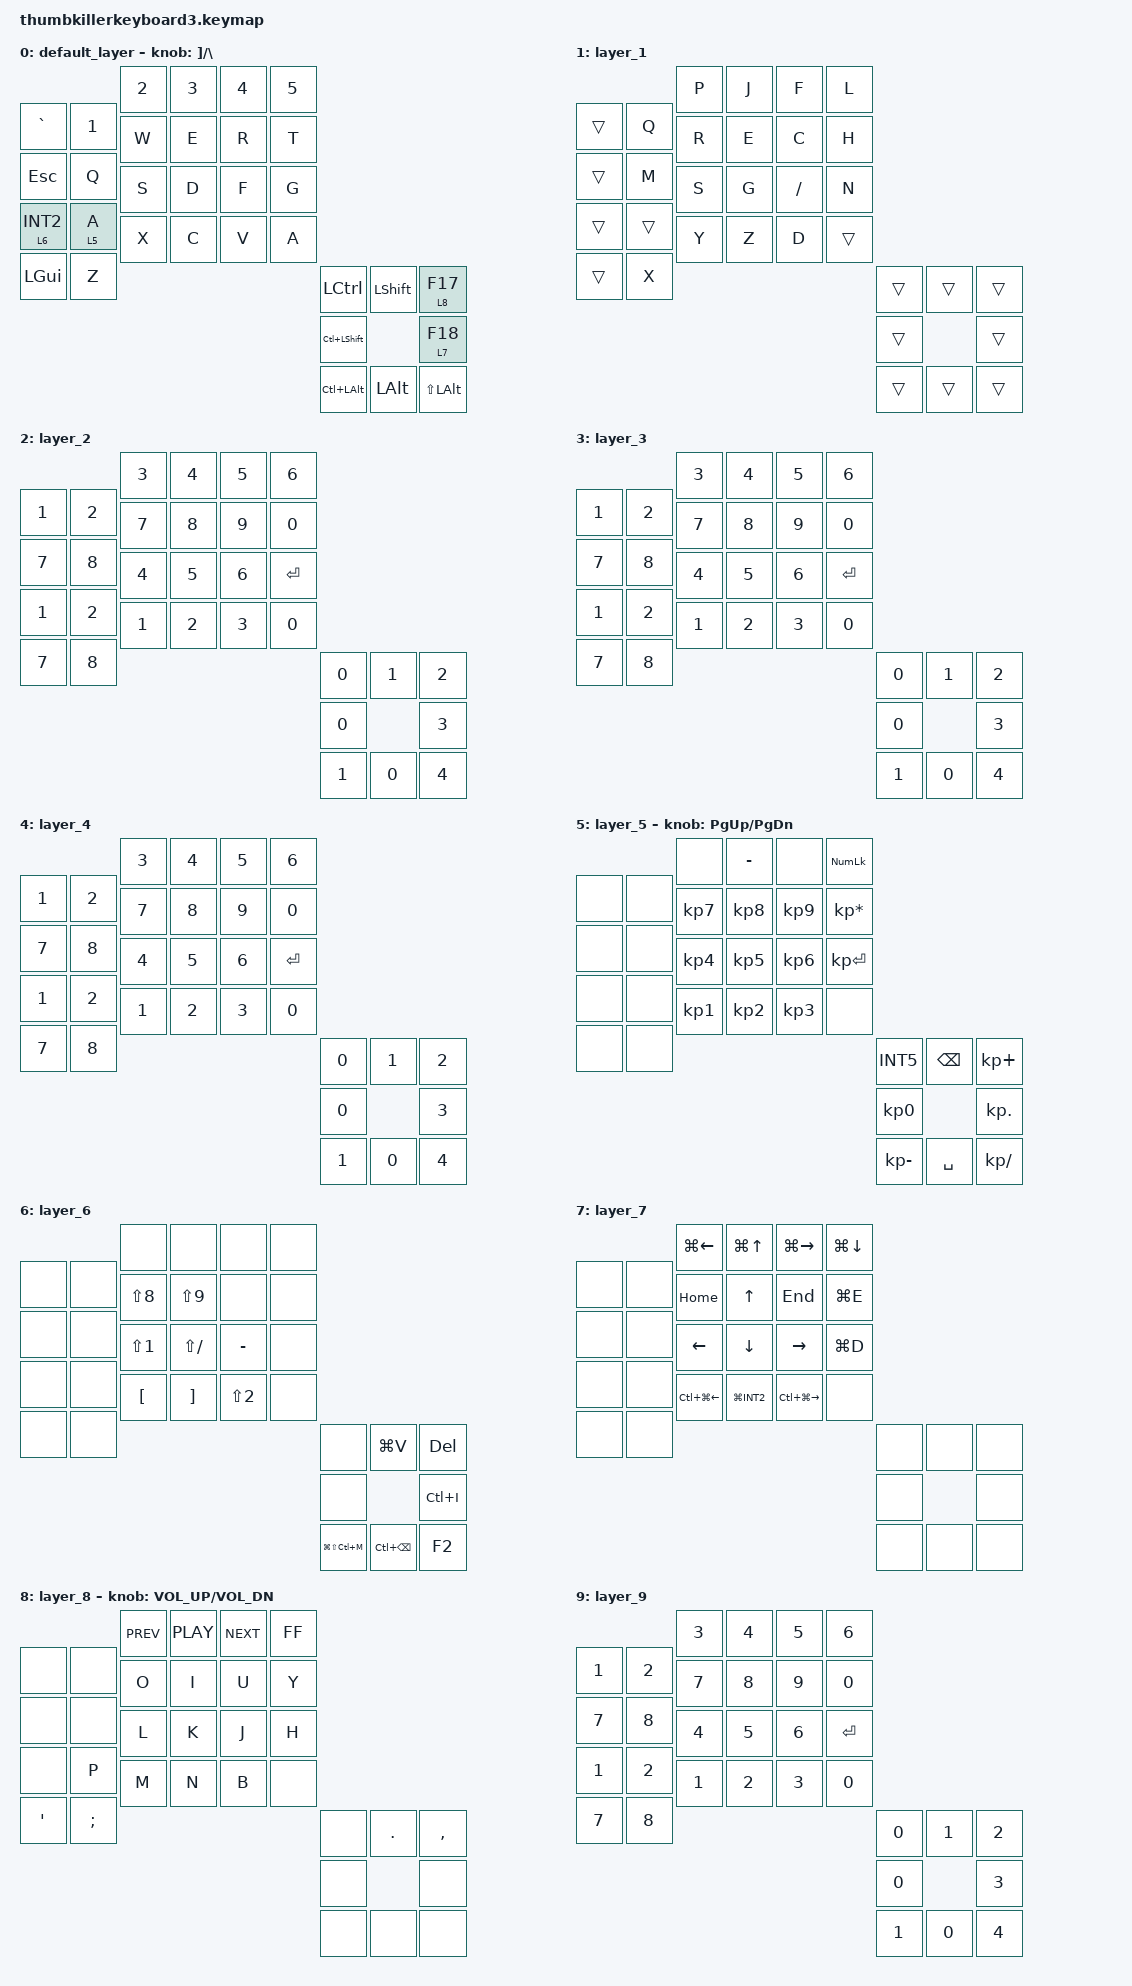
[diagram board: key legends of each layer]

#include <behaviors.dtsi>
#include <dt-bindings/zmk/keys.h>

/ {
    keymap {
        compatible = "zmk,keymap";

        default_layer {
            bindings = <
                &kp GRAVE  &kp N1      &kp N2       &kp N3       &kp N4       &kp N5
                &kp ESC    &kp Q       &kp W        &kp E        &kp R        &kp T
                &lt 6 INT2 &lt 5 A     &kp S        &kp D        &kp F        &kp G
                &kp LGUI   &kp Z       &kp X        &kp C        &kp V        &kp A
                &kp LSHIFT &lt 8 F17  &lt 7 F18    &kp LS(LALT)
                &kp LALT   &kp LC(LALT) &kp LC(LSHIFT) &kp LCTRL
            >;
            sensor-bindings = <&inc_dec_kp RBKT BSLH>;
        };

        layer_1 {
            bindings = <
                &trans   &kp Q   &kp P   &kp J   &kp F   &kp L
                &trans   &kp M   &kp R   &kp E   &kp C   &kp H
                &trans   &trans  &kp S   &kp G   &kp FSLH &kp N
                &trans   &kp X   &kp Y   &kp Z   &kp D   &trans
                &trans   &trans  &trans  &trans
                &trans   &trans  &trans  &trans
            >;
        };

        layer_2 {
            bindings = <
                &kp N1 &kp N2 &kp N3 &kp N4 &kp N5 &kp N6
                &kp N7 &kp N8 &kp N7 &kp N8 &kp N9 &kp N0
                &kp N1 &kp N2 &kp N4 &kp N5 &kp N6 &kp RET
                &kp N7 &kp N8 &kp N1 &kp N2 &kp N3 &kp N0
                &kp N1 &kp N2 &kp N3 &kp N4
                &kp N0 &kp N1 &kp N0 &kp N0
            >;
        };

        layer_3 {
            bindings = <
                &kp N1 &kp N2 &kp N3 &kp N4 &kp N5 &kp N6
                &kp N7 &kp N8 &kp N7 &kp N8 &kp N9 &kp N0
                &kp N1 &kp N2 &kp N4 &kp N5 &kp N6 &kp RET
                &kp N7 &kp N8 &kp N1 &kp N2 &kp N3 &kp N0
                &kp N1 &kp N2 &kp N3 &kp N4
                &kp N0 &kp N1 &kp N0 &kp N0
            >;
        };

        layer_4 {
            bindings = <
                &kp N1 &kp N2 &kp N3 &kp N4 &kp N5 &kp N6
                &kp N7 &kp N8 &kp N7 &kp N8 &kp N9 &kp N0
                &kp N1 &kp N2 &kp N4 &kp N5 &kp N6 &kp RET
                &kp N7 &kp N8 &kp N1 &kp N2 &kp N3 &kp N0
                &kp N1 &kp N2 &kp N3 &kp N4
                &kp N0 &kp N1 &kp N0 &kp N0
            >;
        };

        layer_5 {
            bindings = <
                &none &none &none &kp MINUS &none &kp KP_NLCK
                &none &none &kp KP_N7 &kp KP_N8 &kp KP_N9 &kp KP_MULTIPLY
                &none &none &kp KP_N4 &kp KP_N5 &kp KP_N6 &kp KP_ENTER
                &none &none &kp KP_N1 &kp KP_N2 &kp KP_N3 &none
                &kp BKSP &kp KP_PLUS &kp KP_DOT &kp KP_DIVIDE
                &kp SPACE &kp KP_MINUS &kp KP_N0 &kp INT5
            >;
            sensor-bindings = <&inc_dec_kp PG_UP PG_DN>;
        };

        layer_6 {
            bindings = <
                &none    &none    &none       &none       &none       &none
                &none    &none    &kp LS(N8)  &kp LS(N9)  &none       &none
                &none    &none    &kp LS(N1)  &kp LS(FSLH) &kp MINUS  &none
                &none    &none    &kp LBKT    &kp RBKT    &kp LS(N2)  &none
                &kp LG(V) &kp DEL &kp LC(I)   &kp F2
                &kp LC(BSPC) &kp LG(LS(LC(M))) &none &none
            >;
        };

        layer_7 {
            bindings = <
                &none &none &kp LG(LEFT) &kp LG(UP) &kp LG(RIGHT) &kp LG(DOWN)
                &none &none &kp HOME &kp UP &kp END &kp LG(E)
                &none &none &kp LEFT &kp DOWN &kp RIGHT &kp LG(D)
                &none &none &kp LC(LG(LEFT)) &kp LG(INT2) &kp LC(LG(RIGHT)) &none
                &none &none &none &none
                &none &none &none &none
            >;
        };

        layer_8 {
            bindings = <
                &none &none &kp C_PREV &kp C_PLAY &kp C_NEXT &kp C_FF
                &none &none &kp O &kp I &kp U &kp Y
                &none &kp P &kp L &kp K &kp J &kp H
                &kp SQT &kp SEMI &kp M &kp N &kp B &none
                &kp DOT &kp COMMA &none &none
                &none &none &none &none
            >;
            sensor-bindings = <&inc_dec_kp C_VOL_UP C_VOL_DN>;
        };

        layer_9 {
            bindings = <
                &kp N1 &kp N2 &kp N3 &kp N4 &kp N5 &kp N6
                &kp N7 &kp N8 &kp N7 &kp N8 &kp N9 &kp N0
                &kp N1 &kp N2 &kp N4 &kp N5 &kp N6 &kp RET
                &kp N7 &kp N8 &kp N1 &kp N2 &kp N3 &kp N0
                &kp N1 &kp N2 &kp N3 &kp N4
                &kp N0 &kp N1 &kp N0 &kp N0
            >;
        };
    };
};
